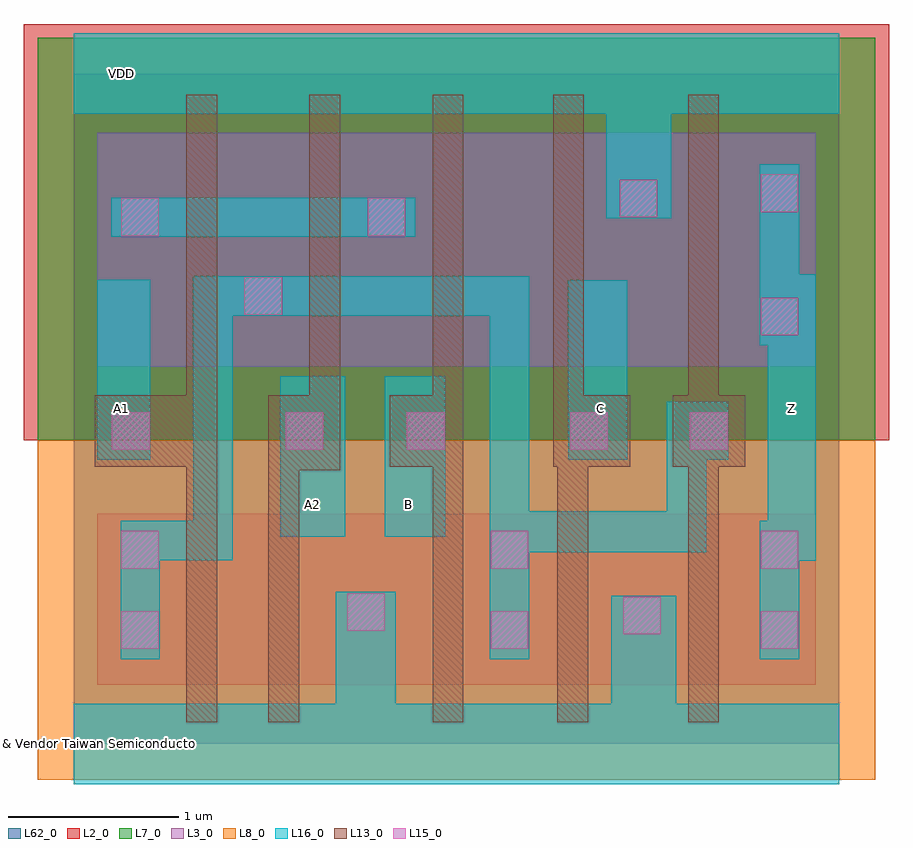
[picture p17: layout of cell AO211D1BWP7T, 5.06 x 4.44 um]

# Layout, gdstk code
import gdstk
lib = gdstk.Library(unit=1e-6, precision=1e-09)
def R(c, l, rs):  # rectangles x0, y0, x1, y1
    for r in rs: c.add(gdstk.rectangle(r[:2], r[2:], *l))
def P(c, l, *ps):  # polygons
    for p in ps: c.add(gdstk.Polygon(p, *l))
L2_0 = (2, 0)
L3_0 = (3, 0)
L7_0 = (7, 0)
L8_0 = (8, 0)
L13_0 = (13, 0)
L15_0 = (15, 0)
L16_0 = (16, 0)
L62_0 = (62, 0)

ao211d1bwp7t = lib.new_cell('AO211D1BWP7T')
R(ao211d1bwp7t, L2_0, [(-0.29,1.775,4.77,4.21)])
R(ao211d1bwp7t, L3_0, [(0.14,0.345,4.34,1.345), (0.14,2.205,4.34,3.575)])
R(ao211d1bwp7t, L7_0, [(-0.21,1.775,4.69,4.13)])
R(ao211d1bwp7t, L8_0, [(-0.21,-0.21,4.69,1.775)])
P(ao211d1bwp7t, L13_0, [(2.83,0.125),(2.83,1.62),(2.805,1.62),(2.805,3.795),(2.985,3.795),(2.985,2.04),(3.255,2.04),(3.255,1.62),(3.01,1.62),(3.01,0.125)],
  [(2.1,0.125),(2.1,1.62),(1.85,1.62),(1.85,2.04),(2.1,2.04),(2.1,3.795),(2.28,3.795),(2.28,0.125)],
  [(1.14,0.125),(1.14,2.04),(1.38,2.04),(1.38,3.795),(1.56,3.795),(1.56,1.6),(1.32,1.6),(1.32,0.125)],
  [(0.66,0.125),(0.66,1.62),(0.125,1.62),(0.125,2.04),(0.66,2.04),(0.66,3.795),(0.84,3.795),(0.84,0.125)],
  [(3.595,0.125),(3.595,1.62),(3.505,1.62),(3.505,2.04),(3.595,2.04),(3.595,3.795),(3.775,3.795),(3.775,2.04),(3.93,2.04),(3.93,1.62),(3.775,1.62),(3.775,0.125)])
R(ao211d1bwp7t, L15_0, [(0.28,0.555,0.5,0.775), (2.44,0.555,2.66,0.775), (4.02,0.555,4.24,0.775), (3.215,0.64,3.435,0.86), (1.6,0.66,1.82,0.88), (0.28,1.025,0.5,1.245), (2.44,1.025,2.66,1.245), (4.02,1.025,4.24,1.245), (0.225,1.72,0.445,1.94), (1.24,1.72,1.46,1.94), (1.95,1.72,2.17,1.94), (2.905,1.72,3.125,1.94), (3.605,1.72,3.825,1.94), (4.02,2.39,4.24,2.61), (1,2.51,1.22,2.73), (0.28,2.97,0.5,3.19), (1.72,2.97,1.94,3.19), (3.195,3.08,3.415,3.3), (4.02,3.11,4.24,3.33)])
R(ao211d1bwp7t, L16_0, [(1.21,1.21,1.59,2.15), (1.82,1.21,2.175,2.15), (0.14,1.66,0.45,2.715), (2.895,1.66,3.24,2.71), (0.22,2.965,2,3.195)])
P(ao211d1bwp7t, L16_0, [(0,-0.235),(0,0.235),(1.535,0.235),(1.535,0.89),(1.885,0.89),(1.885,0.235),(3.145,0.235),(3.145,0.865),(3.525,0.865),(3.525,0.235),(4.48,0.235),(4.48,-0.235)],
  [(3.115,3.075),(3.115,3.685),(0,3.685),(0,4.155),(4.48,4.155),(4.48,3.685),(3.495,3.685),(3.495,3.075)],
  [(4.015,0.495),(4.015,1.305),(4.06,1.305),(4.06,2.33),(4.015,2.33),(4.015,3.39),(4.245,3.39),(4.245,2.745),(4.34,2.745),(4.34,1.07),(4.245,1.07),(4.245,0.495)],
  [(0.275,0.495),(0.275,1.305),(0.7,1.305),(0.7,2.735),(2.665,2.735),(2.665,1.36),(3.47,1.36),(3.47,2),(3.83,2),(3.83,1.66),(3.7,1.66),(3.7,1.12),(2.665,1.12),(2.665,0.495),(2.435,0.495),(2.435,2.505),(0.93,2.505),(0.93,1.075),(0.505,1.075),(0.505,0.495)])
R(ao211d1bwp7t, L62_0, [(0,0,4.48,3.92)])
ao211d1bwp7t.add(gdstk.Label('& Vendor Taiwan Semiconductor Manufacturing Corp.', (0,0), layer=63, texttype=63))
ao211d1bwp7t.add(gdstk.Label('& Product tcb018gbwp7t', (0,0), layer=63, texttype=63))
ao211d1bwp7t.add(gdstk.Label('& Version 270a', (0,0), layer=63, texttype=63))
ao211d1bwp7t.add(gdstk.Label('& Metric 17.562', (0,0), layer=63, texttype=63))
ao211d1bwp7t.add(gdstk.Label('& Distributor TSMC', (0,0), layer=63, texttype=63))
ao211d1bwp7t.add(gdstk.Label('& SerialNumber 000000', (0,0), layer=63, texttype=63))
ao211d1bwp7t.add(gdstk.Label('& _Instance_tag AO211D1BWP7T', (0,0), layer=63, texttype=63))
ao211d1bwp7t.add(gdstk.Label('& Vendor Taiwan Semiconductor Manufacturing Corp.', (0,0), layer=11, texttype=0))
ao211d1bwp7t.add(gdstk.Label('& Product tcb018gbwp7t', (0,0), layer=11, texttype=0))
ao211d1bwp7t.add(gdstk.Label('& Version 270a', (0,0), layer=11, texttype=0))
ao211d1bwp7t.add(gdstk.Label('& Metric 17.562', (0,0), layer=11, texttype=0))
ao211d1bwp7t.add(gdstk.Label('& Distributor TSMC', (0,0), layer=11, texttype=0))
ao211d1bwp7t.add(gdstk.Label('& SerialNumber 000000', (0,0), layer=11, texttype=0))
ao211d1bwp7t.add(gdstk.Label('& _Instance_tag AO211D1BWP7T', (0,0), layer=11, texttype=0))
ao211d1bwp7t.add(gdstk.Label('AO211D1BWP7T', (0,0), layer=59, texttype=0))
ao211d1bwp7t.add(gdstk.Label('VSS', (0.28,0), layer=40, texttype=0))
ao211d1bwp7t.add(gdstk.Label('A1', (0.28,1.96), layer=40, texttype=0))
ao211d1bwp7t.add(gdstk.Label('VDD', (0.28,3.92), layer=40, texttype=0))
ao211d1bwp7t.add(gdstk.Label('A2', (1.4,1.4), layer=40, texttype=0))
ao211d1bwp7t.add(gdstk.Label('B', (1.96,1.4), layer=40, texttype=0))
ao211d1bwp7t.add(gdstk.Label('C', (3.08,1.96), layer=40, texttype=0))
ao211d1bwp7t.add(gdstk.Label('Z', (4.2,1.96), layer=40, texttype=0))

lib.write_gds('AO211D1BWP7T.gds')
